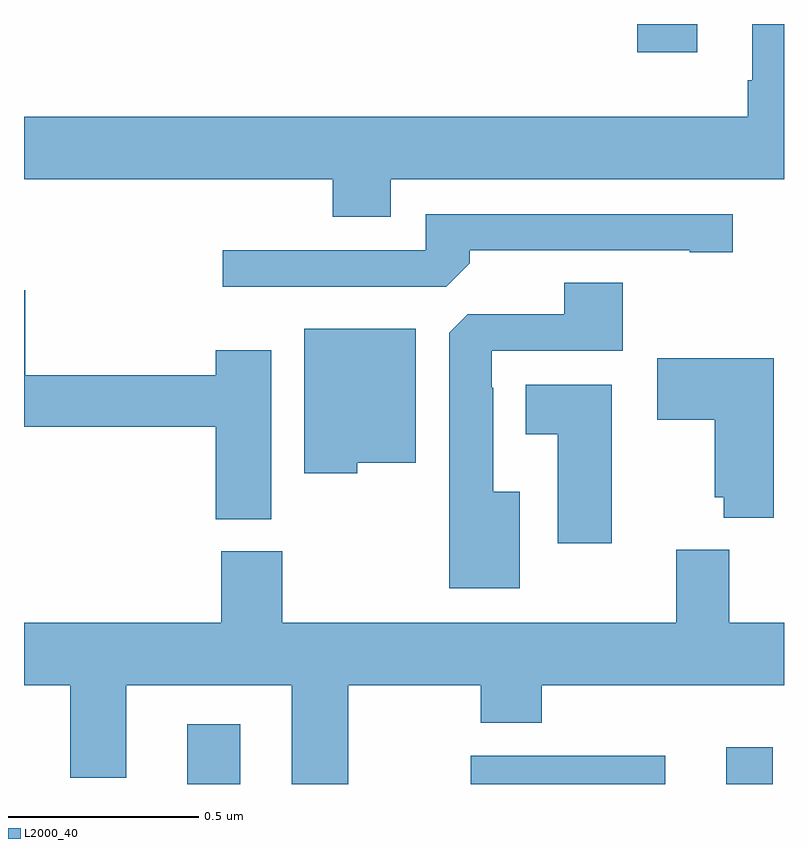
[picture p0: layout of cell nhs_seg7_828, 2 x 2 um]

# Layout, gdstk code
import gdstk
lib = gdstk.Library(unit=1e-6, precision=1e-09)
def R(c, l, rs):  # rectangles x0, y0, x1, y1
    for r in rs: c.add(gdstk.rectangle(r[:2], r[2:], *l))
def P(c, l, *ps):  # polygons
    for p in ps: c.add(gdstk.Polygon(p, *l))
L2000_40 = (2000, 40)

nhs_seg7_828 = lib.new_cell('nhs_seg7_828')
R(nhs_seg7_828, L2000_40, [(122.429,1023,122.569,1023.157), (123.175,1023,123.688,1023.074), (123.848,1023,123.97,1023.097), (123.614,1024.926,123.772,1025)])
P(nhs_seg7_828, L2000_40, [(122.965,1024.592),(124,1024.592),(124,1025),(123.917,1025),(123.917,1024.852),(123.905,1024.852),(123.905,1024.756),(122,1024.756),(122,1024.592),(122.813,1024.592),(122.813,1024.493),(122.965,1024.493)],
  [(123.173,1024.37),(123.173,1024.404),(123.752,1024.404),(123.752,1024.399),(123.865,1024.399),(123.865,1024.5),(123.057,1024.5),(123.057,1024.404),(122.523,1024.404),(122.523,1024.308),(123.111,1024.308)],
  [(123.304,1023.769),(123.235,1023.769),(123.235,1024.043),(123.231,1024.043),(123.231,1024.14),(123.575,1024.14),(123.575,1024.319),(123.422,1024.319),(123.422,1024.236),(123.168,1024.236),(123.119,1024.187),(123.119,1023.515),(123.304,1023.515)],
  [(122.65,1024.141),(122.504,1024.141),(122.504,1024.076),(122.003,1024.076),(122.003,1024.3),(122,1024.3),(122,1023.94),(122.504,1023.94),(122.504,1023.697),(122.65,1023.697)],
  [(122.877,1023.845),(123.031,1023.845),(123.031,1024.198),(122.738,1024.198),(122.738,1023.818),(122.877,1023.818)],
  [(123.973,1024.12),(123.666,1024.12),(123.666,1023.958),(123.818,1023.958),(123.818,1023.755),(123.841,1023.755),(123.841,1023.701),(123.973,1023.701)],
  [(123.547,1024.051),(123.32,1024.051),(123.32,1023.92),(123.404,1023.92),(123.404,1023.633),(123.547,1023.633)],
  [(122.853,1023.26),(123.202,1023.26),(123.202,1023.161),(123.362,1023.161),(123.362,1023.26),(124,1023.26),(124,1023.424),(123.856,1023.424),(123.856,1023.616),(123.716,1023.616),(123.716,1023.424),(122.679,1023.424),(122.679,1023.612),(122.519,1023.612),(122.519,1023.424),(122,1023.424),(122,1023.26),(122.122,1023.26),(122.122,1023.017),(122.269,1023.017),(122.269,1023.26),(122.705,1023.26),(122.705,1023),(122.853,1023)])

lib.write_gds('nhs_seg7_828.gds')
